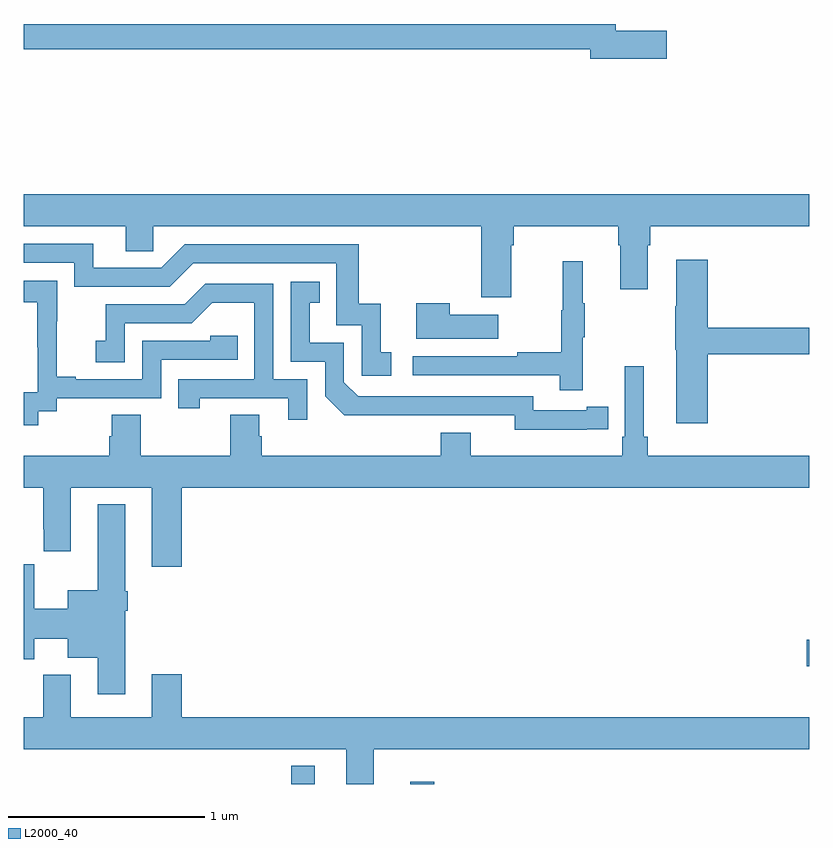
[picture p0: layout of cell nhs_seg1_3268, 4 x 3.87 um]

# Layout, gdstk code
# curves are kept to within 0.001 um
import gdstk
lib = gdstk.Library(unit=1e-6, precision=1e-09)
def R(c, l, rs):  # rectangles x0, y0, x1, y1
    for r in rs: c.add(gdstk.rectangle(r[:2], r[2:], *l))
def P(c, l, *ps):  # polygons
    for p in ps: c.add(gdstk.Polygon(p, *l))
L2000_40 = (2000, 40)

nhs_seg1_3268 = lib.new_cell('nhs_seg1_3268')
R(nhs_seg1_3268, L2000_40, [(288.361,574.199,288.481,574.291), (288.968,574.199,289.09,574.21), (290.988,574.799,291,574.934)])
P(nhs_seg1_3268, L2000_40, [(290.275,578.037),(290.014,578.037),(290.014,578.071),(287,578.071),(287,577.942),(289.886,577.942),(289.886,577.895),(290.275,577.895)],
  [(289.483,576.944),(289.496,576.944),(289.496,577.04),(290.027,577.04),(290.027,576.944),(290.039,576.944),(290.039,576.72),(290.179,576.72),(290.179,576.944),(290.192,576.944),(290.192,577.04),(291,577.04),(291,577.204),(287,577.204),(287,577.04),(287.519,577.04),(287.519,576.913),(287.658,576.913),(287.658,577.04),(289.331,577.04),(289.331,576.678),(289.483,576.678)],
  [(288.871,576.399),(288.818,576.399),(288.818,576.646),(288.707,576.646),(288.707,576.948),(287.82,576.948),(287.7,576.828),(287.353,576.828),(287.353,576.951),(287,576.951),(287,576.855),(287.256,576.855),(287.256,576.732),(287.742,576.732),(287.862,576.852),(288.591,576.852),(288.591,576.537),(288.72,576.537),(288.72,576.279),(288.871,576.279)],
  [(290.483,576.388),(291,576.388),(291,576.524),(290.483,576.524),(290.483,576.871),(290.324,576.871),(290.324,576.632),(290.317,576.632),(290.317,576.411),(290.324,576.411),(290.324,576.036),(290.483,576.036)],
  [(289.847,576.475),(289.858,576.475),(289.858,576.649),(289.847,576.649),(289.847,576.862),(289.744,576.862),(289.744,576.612),(289.737,576.612),(289.737,576.398),(289.513,576.398),(289.513,576.378),(288.981,576.378),(288.981,576.282),(289.729,576.282),(289.729,576.204),(289.847,576.204)],
  [(287.074,576.097),(287.166,576.097),(287.166,576.165),(287.7,576.165),(287.7,576.36),(288.089,576.36),(288.089,576.483),(287.949,576.483),(287.949,576.456),(287.604,576.456),(287.604,576.261),(287.263,576.261),(287.263,576.274),(287.168,576.274),(287.168,576.557),(287.169,576.557),(287.169,576.763),(287,576.763),(287,576.653),(287.069,576.653),(287.069,576.425),(287.07,576.425),(287.07,576.195),(287,576.195),(287,576.027),(287.074,576.027)],
  [(289.868,576.006),(289.976,576.006),(289.976,576.122),(289.868,576.122),(289.868,576.102),(289.596,576.102),(289.596,576.174),(288.702,576.174),(288.63,576.246),(288.63,576.447),(288.457,576.447),(288.457,576.651),(288.506,576.651),(288.506,576.757),(288.36,576.757),(288.36,576.351),(288.534,576.351),(288.534,576.174),(288.632,576.077),(289.5,576.078),(289.5,576.005)],
  [(288.444,576.261),(288.27,576.261),(288.27,576.747),(287.924,576.747),(287.819,576.642),(287.416,576.642),(287.416,576.457),(287.367,576.457),(287.367,576.348),(287.514,576.348),(287.514,576.546),(287.856,576.546),(287.96,576.65),(288.174,576.65),(288.174,576.261),(287.785,576.261),(287.785,576.114),(287.896,576.114),(287.896,576.165),(288.347,576.165),(288.347,576.054),(288.444,576.054)],
  [(289.417,576.589),(289.169,576.589),(289.169,576.649),(288.998,576.649),(288.998,576.467),(289.417,576.467)],
  [(287.804,575.708),(291,575.708),(291,575.872),(290.177,575.872),(290.177,575.968),(290.158,575.968),(290.158,576.328),(290.061,576.328),(290.061,575.968),(290.048,575.968),(290.048,575.872),(289.276,575.872),(289.276,575.989),(289.124,575.989),(289.124,575.872),(288.212,575.872),(288.212,575.97),(288.199,575.97),(288.199,576.08),(288.052,576.08),(288.052,575.872),(287.595,575.872),(287.595,576.08),(287.447,576.08),(287.447,575.97),(287.435,575.97),(287.435,575.872),(287,575.872),(287,575.708),(287.099,575.708),(287.099,575.497),(287.1,575.497),(287.1,575.385),(287.239,575.385),(287.239,575.708),(287.651,575.708),(287.651,575.307),(287.804,575.307)],
  [(287.515,575.081),(287.528,575.081),(287.528,575.181),(287.515,575.181),(287.515,575.623),(287.375,575.623),(287.375,575.185),(287.222,575.185),(287.222,575.092),(287.052,575.092),(287.052,575.319),(287,575.319),(287,574.834),(287.053,574.834),(287.053,574.94),(287.222,574.94),(287.222,574.841),(287.375,574.841),(287.375,574.656),(287.515,574.656)],
  [(288.781,574.376),(291,574.376),(291,574.54),(287.804,574.54),(287.804,574.759),(287.651,574.759),(287.651,574.54),(287.239,574.54),(287.239,574.756),(287.099,574.756),(287.099,574.54),(287,574.54),(287,574.376),(288.641,574.376),(288.641,574.199),(288.781,574.199)])

lib.write_gds('nhs_seg1_3268.gds')
